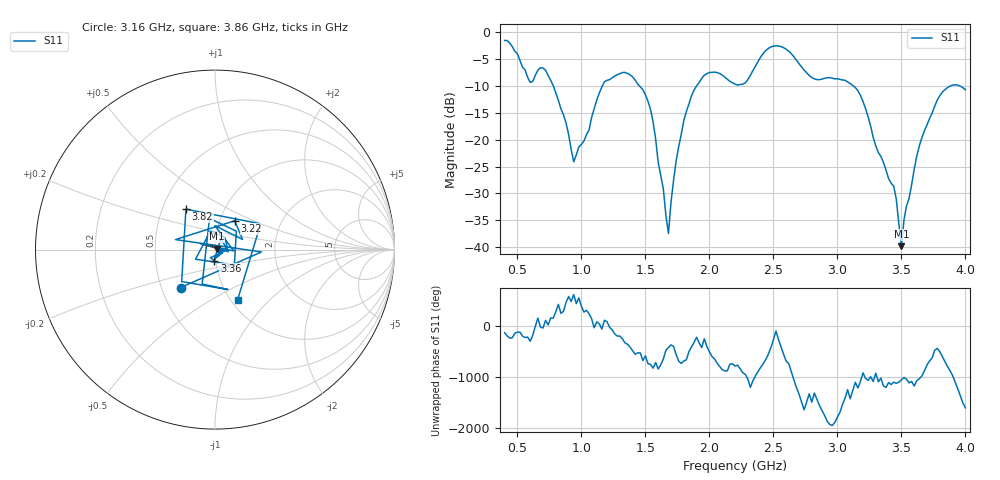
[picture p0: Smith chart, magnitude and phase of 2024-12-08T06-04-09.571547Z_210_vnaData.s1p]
!Created with skrf (http://scikit-rf.org).
# Hz S RI R 50.0
!freq ReS11 ImS11
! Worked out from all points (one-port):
!   181 points, 400 MHz to 4 GHz, reference 50 ohm
!   lowest |S11| = -39.8 dB at 3.5 GHz (marker M1), VSWR 1.02, Z = 50.9 + j0.463 ohm
!   |S11| at or under -10 dB: 780.8 MHz to 1.164 GHz (382.7 MHz wide, 39.4 % of centre); 1.454 GHz to 1.899 GHz (444.5 MHz wide, 26.5 % of centre); 3.125 GHz to 3.882 GHz (756.3 MHz wide, 21.6 % of centre) (the widest 3 of 4)
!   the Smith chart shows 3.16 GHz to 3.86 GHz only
!   S11 on the Smith chart (normalised r, x): 3.16 GHz: 0.63, -0.29; 3.22 GHz: 1.18, +0.39; 3.36 GHz: 0.99, -0.12; 3.82 GHz: 0.66, +0.32; 3.86 GHz: 1.08, -0.66
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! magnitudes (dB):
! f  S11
! 400 MHz  -1.5
! 600 MHz  -9.3
! 720 MHz  -7.0
! 860 MHz  -15.4
! 940 MHz  -24.1
! 1.18 GHz  -9.2
! 1.3 GHz  -7.7
! 1.4 GHz  -8.3
! 1.54 GHz  -14.3
! 1.68 GHz  -37.5
! 1.76 GHz  -21.3
! 1.86 GHz  -11.8
! 1.96 GHz  -8.0
! 2.2 GHz  -9.6
! 2.48 GHz  -2.7
! 2.66 GHz  -4.5
! 2.82 GHz  -8.7
! 3.1 GHz  -9.5
! 3.16 GHz  -10.9
! 3.22 GHz  -14.2
! 3.36 GHz  -24.3
! 3.44 GHz  -28.6
! 3.5 GHz  -39.8
! 3.56 GHz  -30.9
! 3.66 GHz  -19.6
! 3.82 GHz  -11.1
! 3.86 GHz  -10.3
! 4 GHz  -10.7
